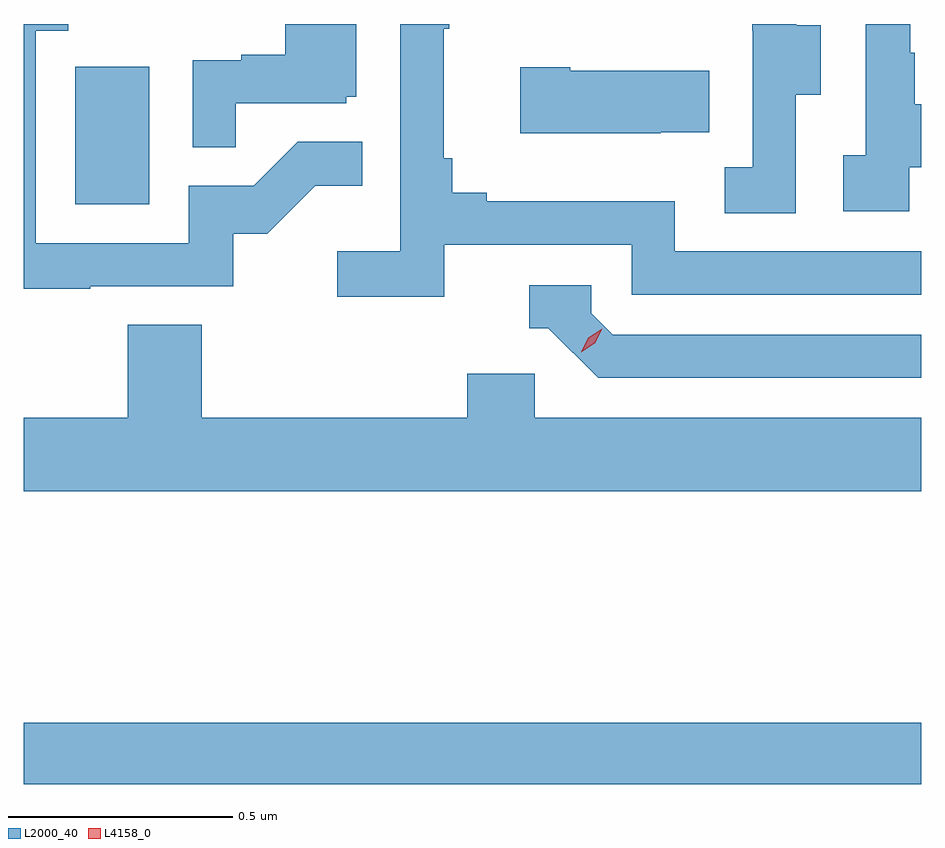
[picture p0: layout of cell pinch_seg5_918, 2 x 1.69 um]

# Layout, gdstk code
import gdstk
lib = gdstk.Library(unit=1e-6, precision=1e-09)
def R(c, l, rs):  # rectangles x0, y0, x1, y1
    for r in rs: c.add(gdstk.rectangle(r[:2], r[2:], *l))
def P(c, l, *ps):  # polygons
    for p in ps: c.add(gdstk.Polygon(p, *l))
L2000_40 = (2000, 40)
L4158_0 = (4158, 0)

pinch_seg5_918 = lib.new_cell('pinch_seg5_918')
R(pinch_seg5_918, L2000_40, [(868.279,889.408,870.279,889.544), (868.394,890.7,868.558,891.007)])
P(pinch_seg5_918, L2000_40, [(870.252,890.783),(870.279,890.783),(870.279,890.923),(870.265,890.923),(870.265,891.038),(870.255,891.038),(870.255,891.102),(870.156,891.102),(870.156,890.81),(870.105,890.81),(870.105,890.685),(870.252,890.685)],
  [(868.427,890.517),(868.746,890.517),(868.746,890.634),(868.822,890.634),(868.929,890.741),(869.033,890.741),(869.033,890.84),(868.889,890.84),(868.791,890.742),(868.647,890.742),(868.647,890.613),(868.305,890.613),(868.305,891.087),(868.378,891.087),(868.378,891.102),(868.279,891.102),(868.279,890.512),(868.427,890.512)],
  [(869.216,890.61),(869.634,890.61),(869.634,890.499),(870.279,890.499),(870.279,890.595),(869.73,890.595),(869.73,890.707),(869.311,890.707),(869.311,890.726),(869.234,890.726),(869.234,890.803),(869.215,890.803),(869.215,891.091),(869.227,891.091),(869.227,891.102),(869.118,891.102),(869.118,890.596),(868.977,890.596),(868.977,890.494),(869.216,890.494)],
  [(870,890.944),(870.055,890.944),(870.055,891.099),(870.001,891.099),(870.001,891.102),(869.903,891.102),(869.903,891.087),(869.904,891.087),(869.904,890.783),(869.841,890.783),(869.841,890.68),(870,890.68)],
  [(868.751,890.925),(868.998,890.925),(868.998,890.94),(869.02,890.94),(869.02,891.102),(868.862,891.102),(868.862,891.034),(868.763,891.034),(868.763,891.021),(868.656,891.021),(868.656,890.827),(868.751,890.827)],
  [(869.699,890.861),(869.807,890.861),(869.807,890.998),(869.497,890.998),(869.497,891.006),(869.385,891.006),(869.385,890.858),(869.699,890.858)],
  [(870.279,890.409),(869.592,890.409),(869.544,890.457),(869.544,890.52),(869.405,890.52),(869.405,890.424),(869.448,890.424),(869.559,890.313),(870.279,890.313)],
  [(870.279,890.224),(869.418,890.224),(869.418,890.322),(869.267,890.322),(869.267,890.224),(868.676,890.224),(868.676,890.432),(868.511,890.432),(868.511,890.224),(868.279,890.224),(868.279,890.06),(870.279,890.06)])
P(pinch_seg5_918, L4158_0, [(869.521,890.37),(869.521,890.371),(869.537,890.403),(869.568,890.423),(869.568,890.423),(869.568,890.423),(869.552,890.39),(869.521,890.37)])

lib.write_gds('pinch_seg5_918.gds')
